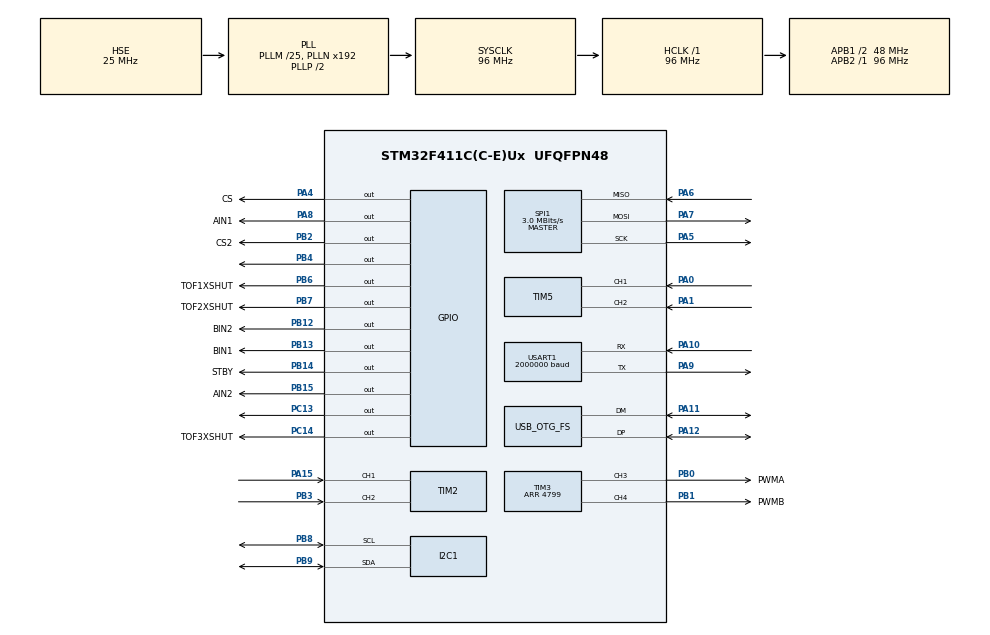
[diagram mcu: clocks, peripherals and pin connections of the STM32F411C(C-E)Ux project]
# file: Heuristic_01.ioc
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Dma.Request0=USART1_TX
Dma.Request1=USART1_RX
Dma.USART1_RX.1.Direction=DMA_PERIPH_TO_MEMORY
Dma.USART1_RX.1.FIFOMode=DMA_FIFOMODE_DISABLE
Dma.USART1_RX.1.Instance=DMA2_Stream2
Dma.USART1_RX.1.MemDataAlignment=DMA_MDATAALIGN_BYTE
Dma.USART1_RX.1.MemInc=DMA_MINC_ENABLE
Dma.USART1_RX.1.Mode=DMA_CIRCULAR
Dma.USART1_RX.1.PeriphDataAlignment=DMA_PDATAALIGN_BYTE
Dma.USART1_RX.1.PeriphInc=DMA_PINC_DISABLE
Dma.USART1_RX.1.Priority=DMA_PRIORITY_LOW
Dma.USART1_TX.0.Direction=DMA_MEMORY_TO_PERIPH
Dma.USART1_TX.0.FIFOMode=DMA_FIFOMODE_DISABLE
Dma.USART1_TX.0.Instance=DMA2_Stream7
Dma.USART1_TX.0.MemDataAlignment=DMA_MDATAALIGN_BYTE
Dma.USART1_TX.0.MemInc=DMA_MINC_ENABLE
Dma.USART1_TX.0.Mode=DMA_NORMAL
Dma.USART1_TX.0.PeriphDataAlignment=DMA_PDATAALIGN_BYTE
Dma.USART1_TX.0.PeriphInc=DMA_PINC_DISABLE
Dma.USART1_TX.0.Priority=DMA_PRIORITY_LOW
Mcu.Family=STM32F4
Mcu.Name=STM32F411C(C-E)Ux
Mcu.Package=UFQFPN48
NVIC.DMA2_Stream2_IRQn=true\:0\:0\:false\:false\:true\:false\:true\:true
NVIC.DMA2_Stream7_IRQn=true\:0\:0\:false\:false\:true\:false\:true\:true
NVIC.OTG_FS_IRQn=true\:0\:0\:false\:false\:true\:false\:true\:true
NVIC.PriorityGroup=NVIC_PRIORITYGROUP_4
NVIC.TIM4_IRQn=true\:15\:0\:false\:false\:true\:false\:true\:true
NVIC.TimeBase=TIM4_IRQn
NVIC.TimeBaseIP=TIM4
NVIC.USART1_IRQn=true\:0\:0\:false\:false\:true\:true\:true\:true
PA0-WKUP.Signal=S_TIM5_CH1
PA1.Signal=S_TIM5_CH2
PA10.Mode=Asynchronous
PA10.Signal=USART1_RX
PA11.Mode=Device_Only
PA11.Signal=USB_OTG_FS_DM
PA12.Mode=Device_Only
PA12.Signal=USB_OTG_FS_DP
PA15.Signal=S_TIM2_CH1_ETR
PA4.GPIO_Label=CS
PA4.Signal=GPIO_Output
PA5.Mode=Full_Duplex_Master
PA5.Signal=SPI1_SCK
PA6.Mode=Full_Duplex_Master
PA6.Signal=SPI1_MISO
PA7.Mode=Full_Duplex_Master
PA7.Signal=SPI1_MOSI
PA8.GPIO_Label=AIN1
PA8.Signal=GPIO_Output
PA9.Mode=Asynchronous
PA9.Signal=USART1_TX
PB0.GPIO_Label=PWMA
PB0.Signal=S_TIM3_CH3
PB1.GPIO_Label=PWMB
PB1.Signal=S_TIM3_CH4
PB12.GPIO_Label=BIN2
PB12.Signal=GPIO_Output
PB13.GPIO_Label=BIN1
PB13.Signal=GPIO_Output
PB14.GPIO_Label=STBY
PB14.Signal=GPIO_Output
PB15.GPIO_Label=AIN2
PB15.Signal=GPIO_Output
PB2.GPIO_Label=CS2
PB2.Signal=GPIO_Output
PB3.Signal=S_TIM2_CH2
PB4.Signal=GPIO_Output
PB6.GPIO_Label=TOF1XSHUT
PB6.Signal=GPIO_Output
PB7.GPIO_Label=TOF2XSHUT
PB7.Signal=GPIO_Output
PB8.Mode=I2C
PB8.Signal=I2C1_SCL
PB9.Mode=I2C
PB9.Signal=I2C1_SDA
PC13-ANTI_TAMP.Signal=GPIO_Output
PC14-OSC32_IN.GPIO_Label=TOF3XSHUT
PC14-OSC32_IN.Signal=GPIO_Output
PH0\ -\ OSC_IN.Mode=HSE-External-Oscillator
PH0\ -\ OSC_IN.Signal=RCC_OSC_IN
PH1\ -\ OSC_OUT.Mode=HSE-External-Oscillator
PH1\ -\ OSC_OUT.Signal=RCC_OSC_OUT
ProjectManager.HeapSize=0x200
ProjectManager.StackSize=0x400
ProjectManager.TargetToolchain=STM32CubeIDE
RCC.48MHZClocksFreq_Value=48000000
RCC.AHBFreq_Value=96000000
RCC.APB1CLKDivider=RCC_HCLK_DIV2
RCC.APB1Freq_Value=48000000
RCC.APB1TimFreq_Value=96000000
RCC.APB2Freq_Value=96000000
RCC.APB2TimFreq_Value=96000000
RCC.CortexFreq_Value=96000000
RCC.HCLKFreq_Value=96000000
RCC.HSE_VALUE=25000000
RCC.HSI_VALUE=16000000
RCC.LSE_VALUE=32768
RCC.PLLM=25
RCC.PLLSourceVirtual=RCC_PLLSOURCE_HSE
RCC.SYSCLKFreq_VALUE=96000000
RCC.SYSCLKSource=RCC_SYSCLKSOURCE_PLLCLK
RCC.VCOOutputFreq_Value=192000000
SH.S_TIM2_CH1_ETR.0=TIM2_CH1,Encoder_Interface
SH.S_TIM2_CH2.0=TIM2_CH2,Encoder_Interface
SH.S_TIM3_CH3.0=TIM3_CH3,PWM Generation3 CH3
SH.S_TIM3_CH4.0=TIM3_CH4,PWM Generation4 CH4
SH.S_TIM5_CH1.0=TIM5_CH1,Encoder_Interface
SH.S_TIM5_CH2.0=TIM5_CH2,Encoder_Interface
SPI1.BaudRatePrescaler=SPI_BAUDRATEPRESCALER_32
SPI1.CLKPhase=SPI_PHASE_2EDGE
SPI1.CLKPolarity=SPI_POLARITY_HIGH
SPI1.CalculateBaudRate=3.0 MBits/s
SPI1.Direction=SPI_DIRECTION_2LINES
SPI1.Mode=SPI_MODE_MASTER
SPI1.VirtualType=VM_MASTER
TIM2.EncoderMode=TIM_ENCODERMODE_TI12
TIM2.IC1Filter=6
TIM2.IC2Filter=6
TIM3.Channel-PWM\ Generation3\ CH3=TIM_CHANNEL_3
TIM3.Channel-PWM\ Generation4\ CH4=TIM_CHANNEL_4
TIM3.Period=4799
TIM5.EncoderMode=TIM_ENCODERMODE_TI12
TIM5.IC1Filter=6
USART1.BaudRate=2000000
USART1.VirtualMode=VM_ASYNC
USB_DEVICE.CLASS_NAME_FS=CDC
USB_DEVICE.VirtualMode=Cdc
USB_DEVICE.VirtualModeFS=Cdc_FS
USB_OTG_FS.VirtualMode=Device_Only
VP_SYS_VS_tim4.Mode=TIM4
VP_TIM3_VS_ClockSourceINT.Mode=Internal
VP_USB_DEVICE_VS_USB_DEVICE_CDC_FS.Mode=CDC_FS
board=custom

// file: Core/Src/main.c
/* USER CODE BEGIN Header */
/**
  ******************************************************************************
  * @file           : main.c
  * @brief          : Main program body
  ******************************************************************************
  * @attention
  *
  * Copyright (c) 2026 STMicroelectronics.
  * All rights reserved.
  *
  * This software is licensed under terms that can be found in the LICENSE file
  * in the root directory of this software component.
  * If no LICENSE file comes with this software, it is provided AS-IS.
  *
  ******************************************************************************
  */
/* USER CODE END Header */
#include "main.h"
#include "usb_device.h"

/* USER CODE BEGIN Includes */
#include "FreeRTOS.h"
#include "task.h"
#include "stdio.h"
#include "math.h"
#include "queue.h"
#include "limits.h"
#include "string.h"
#include "stdbool.h"
#include "MMC5983MA.h"
#include "ism330dhcx.h"
#include "custom_bus.h"
#include "semphr.h"
#include <VL53L0X.h>
#include "usbd_cdc_if.h"

/* USER CODE END Includes */

/* USER CODE BEGIN PTD */

#define VL53L0X_I2C_ADDR    (0x29 << 1) // 0x52 in 8-bit format

#define SENSOR_1_ADDR (0x30 << 1) // 0x60
#define SENSOR_2_ADDR (0x31 << 1) // 0x62
#define SENSOR_3_ADDR (0x32 << 1) // 0x64

/* Registers */
#define REG_I2C_SLAVE_ADDR      0x8A
#define REG_SYSRANGE_START      0x00
#define REG_RESULT_RANGE_RAW    0x14
#define VL53L0X_REG_RESULT_RANGE_STATUS 0x14

#define MAX_PWM     4799.0f
#define MIN_PWM     0.0f
#define BASE_SPEED  0.1f  // Default forward PWM speed (0 - 4799)

#define DEG_TO_RAD(deg) ((deg) * (M_PI / 180.0f))
#define CHASSIS_LENGTH 		  0.10f
#define WHEEL_RADIUS_M 		  (WHEEL_DIAMETER_M / 2)
#define WHEEL_DIAMETER_M      0.034f      // 34 mm wheel diameter
#define ENCODER_TICKS_PER_REV 750.0f // 410.f     // Ticks per wheel revolution
#define METERS_TO_TICKS(v_ms) \
    ((int16_t)(((v_ms) / (M_PI * WHEEL_DIAMETER_M)) * ENCODER_TICKS_PER_REV))

typedef void (*pFunction)(void);

typedef struct {
    float Kp;           // Proportional gain
    float Ki;           // Integral gain
    float Kd;           // Derivative gain

    float integral;     // Accumulated error
    float prev_error;   // Previous error for derivative
    float max_integral; // Anti-windup limit
    float max_output;   // Max steering adjustment limit
} PID_Controller_t;

static PID_Controller_t speed_pid_A = {
    .Kp = 3.5f,
    .Ki = 2.25f,
    .Kd = 0.01f,

    .integral = 0.0f,
    .prev_error = 0.0f,
    .max_integral = 1000.0f,
    .max_output = 4799.0f
};

static PID_Controller_t speed_pid_B = {
    .Kp = 3.5f,
    .Ki = 2.25f,
    .Kd = 0.01f,

    .integral = 0.0f,
    .prev_error = 0.0f,
    .max_integral = 1000.0f,
    .max_output = 4799.0f
};

// WALL FOLLOWING PID CONTROLLER
static PID_Controller_t wall_pid = {
    .Kp = 0.05f,    // Proportional: How aggressively to turn towards the center
    .Ki = 0.0001f,  // Integral: Closes steady-state gaps
    .Kd = 0.01f,    // Derivative: Dampens oscillations (acts like heading correction)

    .integral = 0.0f,
    .prev_error = 0.0f,
    .max_integral = 2.0f,
    .max_output = 2.0f // Max turn rate in rad/s
};

int m = 0; //Moto State
volatile bool motors_armed = true;

volatile int16_t latest_cntA = 0;
volatile int16_t latest_cntB = 0;

typedef struct {
    uint8_t addr;
    GPIO_TypeDef* xshut_port;
    uint16_t xshut_pin;
    uint16_t distance_mm;
} VL53L0X_Dev;

typedef struct {
	int x_front;
	int y_right;
	int y_left;
} tof_pack_t;

typedef struct {
	float acc[3];
	float gyro[3];
	float mag[3];
	float heading;
}imu_pack_t;

typedef struct {
    float x;
    float y;
    float theta;
    float v;
    float omega;
} robot_pose_t;

typedef struct {
    tof_pack_t tof;
    imu_pack_t imu;
    robot_pose_t pose;
    float y_err;
    float theta_err;
    float v_cmd;
    float omega_cmd;
    int16_t encA;
    int16_t encB;
} telemetry_pack_t;

typedef struct {
    int16_t deltaA;
    int16_t deltaB;
    int16_t current_cntA; // Add this
    int16_t current_cntB; // Add this
} EncoderDeltas_t;

VL53L0X_Dev_t sensor1 = { .addr = SENSOR_1_ADDR, .xshut_port = TOF1XSHUT_GPIO_Port, .xshut_pin = TOF1XSHUT_Pin, .stop_variable = 0,
	    .distance_mm = 0};
VL53L0X_Dev_t sensor2 = { .addr = SENSOR_2_ADDR, .xshut_port = TOF2XSHUT_GPIO_Port, .xshut_pin = TOF2XSHUT_Pin, .stop_variable = 0,
	    .distance_mm = 0};
VL53L0X_Dev_t sensor3 = { .addr = SENSOR_3_ADDR, .xshut_port = TOF3XSHUT_GPIO_Port, .xshut_pin = TOF3XSHUT_Pin, .stop_variable = 0,
	    .distance_mm = 0};
//Mag configs
MMC5983MA_t myMag;
ISM330DHCX_Object_t ism330dhcx_obj;

static robot_pose_t robot_pose = {0.0f, 0.0f, 0.0f, 0.0f, 0.0f};

const float offset_x = -10.1f;
const float offset_y = 21.00f - 5.50f;
const float offset_z = -3.50f ;

const float soft_iron[3][3] = {
{  1.003f,  0.001f, -0.017f },
{  0.001f,  1.002f,  0.005f },
{ -0.017f,  0.005f,  0.995f }
};

double initial_wrld_heading = -1000.0;
double relative_heading = 0.0;

QueueHandle_t xTofQueue;
QueueHandle_t xUartRxQueue;
QueueHandle_t xImuQueue;
QueueHandle_t xTelemetryQueue;
QueueHandle_t xJoystickQueue;

BaseType_t xStatus;

TaskHandle_t motor_task_handler;
TaskHandle_t local_navigation_task_handler;
TaskHandle_t orientation_task_handler;
TaskHandle_t telemetry_task_handler;
TaskHandle_t joystick_task_handler;
TaskHandle_t odometry_task_handler;

volatile bool joystick_mode = false;

/* GLOBAL STARTUP GATE FLAG */
volatile uint8_t reset_odom_flag = 0;
volatile uint8_t system_started = 0;
volatile bool is_robot_flipped = false;
volatile float user_target_speed_ms = 0.0f;

/* USER CODE END PTD */

I2C_HandleTypeDef hi2c1;

extern SPI_HandleTypeDef hspi1;

TIM_HandleTypeDef htim2;
TIM_HandleTypeDef htim3;
TIM_HandleTypeDef htim5;

UART_HandleTypeDef huart1;
DMA_HandleTypeDef hdma_usart1_tx;
DMA_HandleTypeDef hdma_usart1_rx;

/* USER CODE BEGIN PV */
#define CoreDebug_DEMCR (*(volatile uint32_t*) 0xE000EDFC)
#define DWT_CTRL        (*(volatile uint32_t*) 0xE0001000)
#define DWT_CYCCNT      (*(volatile uint32_t*) 0xE0001004)

uint16_t distance;
volatile bool use_usb_logging = false;
// UART RX Variables
uint8_t rx_data;
char rx_buffer[32];
uint8_t rx_index = 0;

/* ---- Nav state machine ------------------------------------------ */

typedef enum {
    NAV_FOLLOWING = 0,
    NAV_BLOCKED_TURNING
} nav_state_t;

/* ---- Persistent state (static so it survives across loop iters) - */

#define TARGET_WALL_DIST_MM        100.0f
#define TARGET_HEADING_RAD         0.0f

/* Wall presence threshold. Should be clearly larger than
 * TARGET_WALL_DIST_MM (100mm) so the robot recognizes a wall with
 * room to react smoothly, but not so large it reacts to walls across
 * open areas / junctions. Start around 1.5-2x target distance. */
#define WALL_THRESHOLD_MM          130.0f
#define WALL_HYSTERESIS_MM         20.0f   /* gap between enter/exit thresholds */

#define FRONT_OBSTACLE_THRESHOLD_MM 100.0f
#define FRONT_BLOCK_DEBOUNCE_COUNT  3      /* consecutive close reads before reacting */

#define Y_ERR_FILTER_ALPHA          0.4f   /* lower = smoother, more lag */

#define MAX_OMEGA                  1.0f    /* rad/s, absolute saturation */
#define MAX_OMEGA_STEP              0.1f   /* rad/s change allowed per 40ms tick */

#define TURN_OMEGA                  2.0f   /* rad/s used while resolving a front block */

/* USER CODE END PV */

void SystemClock_Config(void);
static void MX_GPIO_Init(void);
static void MX_DMA_Init(void);
static void MX_TIM2_Init(void);
static void MX_TIM3_Init(void);
static void MX_TIM5_Init(void);
static void MX_I2C1_Init(void);
static void MX_USART1_UART_Init(void);
static void MX_SPI1_Init(void);
/* USER CODE BEGIN PFP */

void VL53L0X_Init_All(void);

void Move_MotorA(int16_t magn);
void Move_MotorB(int16_t magn);
float Compute_PID(PID_Controller_t *pid, float error, float dt);
void UpdateOdometry(int16_t ticksA, int16_t ticksB, float dt);
void HAL_UART_RxCpltCallback(UART_HandleTypeDef *huart);
void CalcIK(float v, float ang_v, float *ang_R, float *ang_L);
static float normalize_angle(float angle);
uint32_t get_us(void);
void DWT_Init(void);

// FreeRTOS METHODS
static void tof_task(void *parameters);
static void main_task(void *parameters);
static void imu_task(void *parameters);
static void xOrientationCheckTask(void *parameters);
void vMotorController(void *parameters);
void vLocalNavigationTask(void *parameters);
void vTelemetryTask(void *parameters);
static void vJoystickTask(void *parameters);
void vOdometryTask(void *parameters);

void Reset_Odometry(void);

/* USER CODE END PFP */

/* USER CODE BEGIN 0 */

//int _write(int file, char *ptr, int len) {
//    // Use blocking UART transmission with a timeout (e.g., 10ms or HAL_MAX_DELAY)
//    HAL_UART_Transmit(&huart1, (uint8_t *)ptr, (uint16_t)len, 10);
//    return len;
//}
int _write(int file, char *ptr, int len) {
    // 1. Generate the timestamp header string
    char header[32];
    int h_len = snprintf(header, sizeof(header), "[%lu us] ", get_us());

    // 2. Combine header and message into a single buffer to prevent interleaving
    #define MAX_LOG_LEN 256
    char combined[MAX_LOG_LEN];

    // Truncate payload if it exceeds the local buffer size
    int payload_len = (len < (int)(MAX_LOG_LEN - h_len - 1)) ? len : (int)(MAX_LOG_LEN - h_len - 1);

    memcpy(combined, header, h_len);
    memcpy(combined + h_len, ptr, payload_len);
    int total_len = h_len + payload_len;

    if (use_usb_logging) {
        // --- USB CDC Logging ---
        uint8_t status = USBD_BUSY;
        uint8_t retries = 0;

        do {
            status = CDC_Transmit_FS((uint8_t *)combined, total_len);
            if (status == USBD_BUSY) {
                vTaskDelay(pdMS_TO_TICKS(1)); // Yield to other tasks
                retries++;
            }
        } while (status == USBD_BUSY && retries < 10); // 10ms timeout

    } else {
        // --- UART DMA Logging Fix ---
        // Forcefully clear a stuck busy state caused by an electrical glitch/timeout
        if (huart1.gState == HAL_UART_STATE_BUSY_TX) {
            huart1.gState = HAL_UART_STATE_READY;
            __HAL_UNLOCK(&huart1);
        }

        HAL_UART_Transmit(&huart1, (uint8_t *)combined, (uint16_t)total_len, 10);
    }
    return len; // Return original length so standard library tracking stays accurate
}

void DWT_Init(void) {
    // 1. Enable TRCENA (Trace Enable) in CoreDebug DEMCR register
    CoreDebug_DEMCR |= (1 << 24);

    // 2. Reset the cycle counter
    DWT_CYCCNT = 0;

    // 3. Enable the CYCCNT (Cycle Counter) bit in DWT Control register
    DWT_CTRL |= (1 << 0);
}

uint32_t get_us(void) {
    return (uint32_t)(DWT_CYCCNT / (SystemCoreClock / 1000000));
}

/* --------------------------------------------------------------------------
 * ISM330DHCX SPI bus wrappers (CS = PA4)
 * -------------------------------------------------------------------------- */
int32_t BSP_SPI1_WriteReg(uint16_t Addr, uint16_t Reg, uint8_t *pData, uint16_t Len) {
    HAL_GPIO_WritePin(GPIOA, GPIO_PIN_4, GPIO_PIN_RESET);
    BSP_SPI1_Send((uint8_t*)&Reg, 1);
    int32_t ret = BSP_SPI1_Send(pData, Len);
    HAL_GPIO_WritePin(GPIOA, GPIO_PIN_4, GPIO_PIN_SET);
    return ret;
}

int32_t BSP_SPI1_ReadReg(uint16_t Addr, uint16_t Reg, uint8_t *pData, uint16_t Len) {
    uint8_t reg_addr = (uint8_t)Reg | 0x80;
    HAL_GPIO_WritePin(GPIOA, GPIO_PIN_4, GPIO_PIN_RESET);
    BSP_SPI1_Send(&reg_addr, 1);
    int32_t ret = BSP_SPI1_Recv(pData, Len);
    HAL_GPIO_WritePin(GPIOA, GPIO_PIN_4, GPIO_PIN_SET);
    return ret;
}

/* USER CODE END 0 */

int main(void)
{

  /* USER CODE BEGIN 1 */
  TaskHandle_t tof_task_handler;
  TaskHandle_t main_task_handler;
  TaskHandle_t imu_task_handler;

//  TaskHandle_t vPID_task_handler;
  BaseType_t status;

  /* USER CODE END 1 */

  /* MCU Configuration--------------------------------------------------------*/

  /* Reset of all peripherals, Initializes the Flash interface and the Systick. */
  HAL_Init();

  /* USER CODE BEGIN Init */
  DWT_Init();
  /* USER CODE END Init */

  /* Configure the system clock */
  SystemClock_Config();

  /* Initialize all configured peripherals */
  MX_GPIO_Init();
  MX_DMA_Init();
  MX_TIM2_Init();
  MX_TIM3_Init();
  MX_TIM5_Init();
  MX_I2C1_Init();
  MX_USART1_UART_Init();
  MX_SPI1_Init();
  MX_USB_DEVICE_Init();
  /* USER CODE BEGIN 2 */

    // Enable CYCCNT counter
    DWT_CTRL |= (1 << 0);

    xTofQueue = xQueueCreate(1, sizeof(tof_pack_t));
    xImuQueue = xQueueCreate(1, sizeof(imu_pack_t));
    xTelemetryQueue = xQueueCreate(1, sizeof(telemetry_pack_t));
    xUartRxQueue = xQueueCreate(5, 32);
    xJoystickQueue = xQueueCreate(5, 32);

    status = xTaskCreate(tof_task, "TOFTask", 512, NULL, 2, &tof_task_handler);
    status = xTaskCreate(imu_task, "IMUTask", 512, NULL, 2, &imu_task_handler);
    status = xTaskCreate(main_task, "MainTask", 512, NULL, 2, &main_task_handler);
    status = xTaskCreate(xOrientationCheckTask, "orientationtask", 256, NULL, 1, &orientation_task_handler);
    status = xTaskCreate(vLocalNavigationTask, "MainTask", 128, NULL, 2, &local_navigation_task_handler);
    status = xTaskCreate(vMotorController, "motorCtrl", 512, NULL, 2, &motor_task_handler);
    status = xTaskCreate(vTelemetryTask, "Telemetry", 512, NULL, 1, &telemetry_task_handler);

    printf("Initialised TASKS \r\n");

    HAL_NVIC_SetPriority(USART1_IRQn, 5, 0);
    HAL_NVIC_EnableIRQ(USART1_IRQn);
    HAL_UART_Receive_IT(&huart1, &rx_data, 1);

    configASSERT(status == pdPASS);
    HAL_TIM_Encoder_Start(&htim5, TIM_CHANNEL_ALL);
    HAL_TIM_Encoder_Start(&htim2, TIM_CHANNEL_ALL);
    vTaskStartScheduler();

  /* USER CODE END 2 */

  /* Infinite loop */
  while (1)
  {

  }
}

void SystemClock_Config(void)
{
  RCC_OscInitTypeDef RCC_OscInitStruct = {0};
  RCC_ClkInitTypeDef RCC_ClkInitStruct = {0};

  /** Configure the main internal regulator output voltage
  */
  __HAL_RCC_PWR_CLK_ENABLE();
  __HAL_PWR_VOLTAGESCALING_CONFIG(PWR_REGULATOR_VOLTAGE_SCALE1);

  /** Initializes the RCC Oscillators according to the specified parameters
  * in the RCC_OscInitTypeDef structure.
  */
  RCC_OscInitStruct.OscillatorType = RCC_OSCILLATORTYPE_HSE;
  RCC_OscInitStruct.HSEState = RCC_HSE_ON;
  RCC_OscInitStruct.PLL.PLLState = RCC_PLL_ON;
  RCC_OscInitStruct.PLL.PLLSource = RCC_PLLSOURCE_HSE;
  RCC_OscInitStruct.PLL.PLLM = 25;
  RCC_OscInitStruct.PLL.PLLN = 192;
  RCC_OscInitStruct.PLL.PLLP = RCC_PLLP_DIV2;
  RCC_OscInitStruct.PLL.PLLQ = 4;
  if (HAL_RCC_OscConfig(&RCC_OscInitStruct) != HAL_OK)
  {
    Error_Handler();
  }

  /** Initializes the CPU, AHB and APB buses clocks
  */
  RCC_ClkInitStruct.ClockType = RCC_CLOCKTYPE_HCLK|RCC_CLOCKTYPE_SYSCLK
                              |RCC_CLOCKTYPE_PCLK1|RCC_CLOCKTYPE_PCLK2;
  RCC_ClkInitStruct.SYSCLKSource = RCC_SYSCLKSOURCE_PLLCLK;
  RCC_ClkInitStruct.AHBCLKDivider = RCC_SYSCLK_DIV1;
  RCC_ClkInitStruct.APB1CLKDivider = RCC_HCLK_DIV2;
  RCC_ClkInitStruct.APB2CLKDivider = RCC_HCLK_DIV1;

  if (HAL_RCC_ClockConfig(&RCC_ClkInitStruct, FLASH_LATENCY_3) != HAL_OK)
  {
    Error_Handler();
  }
}

static void MX_I2C1_Init(void)
{

  hi2c1.Instance = I2C1;
  hi2c1.Init.ClockSpeed = 100000;
  hi2c1.Init.DutyCycle = I2C_DUTYCYCLE_2;
  hi2c1.Init.OwnAddress1 = 0;
  hi2c1.Init.AddressingMode = I2C_ADDRESSINGMODE_7BIT;
  hi2c1.Init.DualAddressMode = I2C_DUALADDRESS_DISABLE;
  hi2c1.Init.OwnAddress2 = 0;
  hi2c1.Init.GeneralCallMode = I2C_GENERALCALL_DISABLE;
  hi2c1.Init.NoStretchMode = I2C_NOSTRETCH_DISABLE;
  if (HAL_I2C_Init(&hi2c1) != HAL_OK)
  {
    Error_Handler();
  }

}

static void MX_SPI1_Init(void)
{

  /* SPI1 parameter configuration*/
  hspi1.Instance = SPI1;
  hspi1.Init.Mode = SPI_MODE_MASTER;
  hspi1.Init.Direction = SPI_DIRECTION_2LINES;
  hspi1.Init.DataSize = SPI_DATASIZE_8BIT;
  hspi1.Init.CLKPolarity = SPI_POLARITY_HIGH;
  hspi1.Init.CLKPhase = SPI_PHASE_2EDGE;
  hspi1.Init.NSS = SPI_NSS_SOFT;
  hspi1.Init.BaudRatePrescaler = SPI_BAUDRATEPRESCALER_32;
  hspi1.Init.FirstBit = SPI_FIRSTBIT_MSB;
  hspi1.Init.TIMode = SPI_TIMODE_DISABLE;
  hspi1.Init.CRCCalculation = SPI_CRCCALCULATION_DISABLE;
  hspi1.Init.CRCPolynomial = 10;
  if (HAL_SPI_Init(&hspi1) != HAL_OK)
  {
    Error_Handler();
  }

}

static void MX_TIM2_Init(void)
{

  TIM_Encoder_InitTypeDef sConfig = {0};
  TIM_MasterConfigTypeDef sMasterConfig = {0};

  htim2.Instance = TIM2;
  htim2.Init.Prescaler = 0;
  htim2.Init.CounterMode = TIM_COUNTERMODE_UP;
  htim2.Init.Period = 4294967295;
  htim2.Init.ClockDivision = TIM_CLOCKDIVISION_DIV1;
  htim2.Init.AutoReloadPreload = TIM_AUTORELOAD_PRELOAD_DISABLE;
  sConfig.EncoderMode = TIM_ENCODERMODE_TI12;
  sConfig.IC1Polarity = TIM_ICPOLARITY_RISING;
  sConfig.IC1Selection = TIM_ICSELECTION_DIRECTTI;
  sConfig.IC1Prescaler = TIM_ICPSC_DIV1;
  sConfig.IC1Filter = 6;
  sConfig.IC2Polarity = TIM_ICPOLARITY_RISING;
  sConfig.IC2Selection = TIM_ICSELECTION_DIRECTTI;
  sConfig.IC2Prescaler = TIM_ICPSC_DIV1;
  sConfig.IC2Filter = 6;
  if (HAL_TIM_Encoder_Init(&htim2, &sConfig) != HAL_OK)
  {
    Error_Handler();
  }
  sMasterConfig.MasterOutputTrigger = TIM_TRGO_RESET;
  sMasterConfig.MasterSlaveMode = TIM_MASTERSLAVEMODE_DISABLE;
  if (HAL_TIMEx_MasterConfigSynchronization(&htim2, &sMasterConfig) != HAL_OK)
  {
    Error_Handler();
  }

}

static void MX_TIM3_Init(void)
{

  TIM_ClockConfigTypeDef sClockSourceConfig = {0};
  TIM_MasterConfigTypeDef sMasterConfig = {0};
  TIM_OC_InitTypeDef sConfigOC = {0};

  htim3.Instance = TIM3;
  htim3.Init.Prescaler = 0;
  htim3.Init.CounterMode = TIM_COUNTERMODE_UP;
  htim3.Init.Period = 4799;
  htim3.Init.ClockDivision = TIM_CLOCKDIVISION_DIV1;
  htim3.Init.AutoReloadPreload = TIM_AUTORELOAD_PRELOAD_DISABLE;
  if (HAL_TIM_Base_Init(&htim3) != HAL_OK)
  {
    Error_Handler();
  }
  sClockSourceConfig.ClockSource = TIM_CLOCKSOURCE_INTERNAL;
  if (HAL_TIM_ConfigClockSource(&htim3, &sClockSourceConfig) != HAL_OK)
  {
    Error_Handler();
  }
  if (HAL_TIM_PWM_Init(&htim3) != HAL_OK)
  {
    Error_Handler();
  }
  sMasterConfig.MasterOutputTrigger = TIM_TRGO_RESET;
  sMasterConfig.MasterSlaveMode = TIM_MASTERSLAVEMODE_DISABLE;
  if (HAL_TIMEx_MasterConfigSynchronization(&htim3, &sMasterConfig) != HAL_OK)
  {
    Error_Handler();
  }
  sConfigOC.OCMode = TIM_OCMODE_PWM1;
  sConfigOC.Pulse = 0;
  sConfigOC.OCPolarity = TIM_OCPOLARITY_HIGH;
  sConfigOC.OCFastMode = TIM_OCFAST_DISABLE;
  if (HAL_TIM_PWM_ConfigChannel(&htim3, &sConfigOC, TIM_CHANNEL_3) != HAL_OK)
  {
    Error_Handler();
  }
  if (HAL_TIM_PWM_ConfigChannel(&htim3, &sConfigOC, TIM_CHANNEL_4) != HAL_OK)
  {
    Error_Handler();
  }
  HAL_TIM_MspPostInit(&htim3);

}

static void MX_TIM5_Init(void)
{

  TIM_Encoder_InitTypeDef sConfig = {0};
  TIM_MasterConfigTypeDef sMasterConfig = {0};

  htim5.Instance = TIM5;
  htim5.Init.Prescaler = 0;
  htim5.Init.CounterMode = TIM_COUNTERMODE_UP;
  htim5.Init.Period = 4294967295;
  htim5.Init.ClockDivision = TIM_CLOCKDIVISION_DIV1;
  htim5.Init.AutoReloadPreload = TIM_AUTORELOAD_PRELOAD_DISABLE;
  sConfig.EncoderMode = TIM_ENCODERMODE_TI12;
  sConfig.IC1Polarity = TIM_ICPOLARITY_RISING;
  sConfig.IC1Selection = TIM_ICSELECTION_DIRECTTI;
  sConfig.IC1Prescaler = TIM_ICPSC_DIV1;
  sConfig.IC1Filter = 6;
  sConfig.IC2Polarity = TIM_ICPOLARITY_RISING;
  sConfig.IC2Selection = TIM_ICSELECTION_DIRECTTI;
  sConfig.IC2Prescaler = TIM_ICPSC_DIV1;
  sConfig.IC2Filter = 0;
  if (HAL_TIM_Encoder_Init(&htim5, &sConfig) != HAL_OK)
  {
    Error_Handler();
  }
  sMasterConfig.MasterOutputTrigger = TIM_TRGO_RESET;
  sMasterConfig.MasterSlaveMode = TIM_MASTERSLAVEMODE_DISABLE;
  if (HAL_TIMEx_MasterConfigSynchronization(&htim5, &sMasterConfig) != HAL_OK)
  {
    Error_Handler();
  }

}

static void MX_USART1_UART_Init(void)
{

  huart1.Instance = USART1;
  huart1.Init.BaudRate = 460800;
  huart1.Init.WordLength = UART_WORDLENGTH_8B;
  huart1.Init.StopBits = UART_STOPBITS_1;
  huart1.Init.Parity = UART_PARITY_NONE;
  huart1.Init.Mode = UART_MODE_TX_RX;
  huart1.Init.HwFlowCtl = UART_HWCONTROL_NONE;
  huart1.Init.OverSampling = UART_OVERSAMPLING_16;
  if (HAL_UART_Init(&huart1) != HAL_OK)
  {
    Error_Handler();
  }

}

static void MX_DMA_Init(void)
{

  /* DMA controller clock enable */
  __HAL_RCC_DMA2_CLK_ENABLE();

  /* DMA interrupt init */
  /* DMA2_Stream2_IRQn interrupt configuration */
  HAL_NVIC_SetPriority(DMA2_Stream2_IRQn, 0, 0);
  HAL_NVIC_EnableIRQ(DMA2_Stream2_IRQn);
  /* DMA2_Stream7_IRQn interrupt configuration */
  HAL_NVIC_SetPriority(DMA2_Stream7_IRQn, 0, 0);
  HAL_NVIC_EnableIRQ(DMA2_Stream7_IRQn);

}

static void MX_GPIO_Init(void)
{
  GPIO_InitTypeDef GPIO_InitStruct = {0};

  /* GPIO Ports Clock Enable */
  __HAL_RCC_GPIOC_CLK_ENABLE();
  __HAL_RCC_GPIOH_CLK_ENABLE();
  __HAL_RCC_GPIOA_CLK_ENABLE();
  __HAL_RCC_GPIOB_CLK_ENABLE();

  /*Configure GPIO pin Output Level */
  HAL_GPIO_WritePin(GPIOC, GPIO_PIN_13|TOF3XSHUT_Pin, GPIO_PIN_RESET);

  /*Configure GPIO pin Output Level */
  HAL_GPIO_WritePin(GPIOA, CS_Pin|AIN1_Pin, GPIO_PIN_RESET);

  /*Configure GPIO pin Output Level */
  HAL_GPIO_WritePin(GPIOB, CS2_Pin|BIN2_Pin|BIN1_Pin|STBY_Pin
                          |AIN2_Pin|GPIO_PIN_4|TOF1XSHUT_Pin|TOF2XSHUT_Pin, GPIO_PIN_RESET);

  /*Configure GPIO pins : PC13 TOF3XSHUT_Pin */
  GPIO_InitStruct.Pin = GPIO_PIN_13|TOF3XSHUT_Pin;
  GPIO_InitStruct.Mode = GPIO_MODE_OUTPUT_PP;
  GPIO_InitStruct.Pull = GPIO_NOPULL;
  GPIO_InitStruct.Speed = GPIO_SPEED_FREQ_LOW;
  HAL_GPIO_Init(GPIOC, &GPIO_InitStruct);

  /*Configure GPIO pins : CS_Pin AIN1_Pin */
  GPIO_InitStruct.Pin = CS_Pin|AIN1_Pin;
  GPIO_InitStruct.Mode = GPIO_MODE_OUTPUT_PP;
  GPIO_InitStruct.Pull = GPIO_NOPULL;
  GPIO_InitStruct.Speed = GPIO_SPEED_FREQ_LOW;
  HAL_GPIO_Init(GPIOA, &GPIO_InitStruct);

  /*Configure GPIO pins : CS2_Pin BIN2_Pin BIN1_Pin STBY_Pin
                           AIN2_Pin PB4 TOF1XSHUT_Pin TOF2XSHUT_Pin */
  GPIO_InitStruct.Pin = CS2_Pin|BIN2_Pin|BIN1_Pin|STBY_Pin
                          |AIN2_Pin|GPIO_PIN_4|TOF1XSHUT_Pin|TOF2XSHUT_Pin;
  GPIO_InitStruct.Mode = GPIO_MODE_OUTPUT_PP;
  GPIO_InitStruct.Pull = GPIO_NOPULL;
  GPIO_InitStruct.Speed = GPIO_SPEED_FREQ_LOW;
  HAL_GPIO_Init(GPIOB, &GPIO_InitStruct);

}

/* USER CODE BEGIN 4 */

void VL53L0X_Init_All(void) {
    // 1. Force all into shutdown
    HAL_GPIO_WritePin(sensor1.xshut_port, sensor1.xshut_pin, GPIO_PIN_RESET);
    HAL_GPIO_WritePin(sensor2.xshut_port, sensor2.xshut_pin, GPIO_PIN_RESET);
    HAL_GPIO_WritePin(sensor3.xshut_port, sensor3.xshut_pin, GPIO_PIN_RESET);
    HAL_Delay(30);

    // --- Sensor 1 (Right) ---
    HAL_GPIO_WritePin(sensor1.xshut_port, sensor1.xshut_pin, GPIO_PIN_SET);
    HAL_Delay(10);
    VL53L0X_WrByte(VL53L0X_I2C_ADDR, REG_I2C_SLAVE_ADDR, sensor1.addr >> 1); // Remap address
    VL53L0X_SetBareMetalTimingBudget(sensor1.addr, 20000);// Initialize its object parameters
    VL53L0X_Begin(&sensor1);

    // --- Sensor 2 (Front) ---
    HAL_GPIO_WritePin(sensor2.xshut_port, sensor2.xshut_pin, GPIO_PIN_SET);
    HAL_Delay(10);
    VL53L0X_WrByte(VL53L0X_I2C_ADDR, REG_I2C_SLAVE_ADDR, sensor2.addr >> 1);
    VL53L0X_SetBareMetalTimingBudget(sensor2.addr, 20000);
    VL53L0X_Begin(&sensor2);

    // --- Sensor 3 (Left) ---
    HAL_GPIO_WritePin(sensor3.xshut_port, sensor3.xshut_pin, GPIO_PIN_SET);
    HAL_Delay(10);
    VL53L0X_WrByte(VL53L0X_I2C_ADDR, REG_I2C_SLAVE_ADDR, sensor3.addr >> 1);
    VL53L0X_SetBareMetalTimingBudget(sensor3.addr, 20000);
    VL53L0X_Begin(&sensor3);

    printf("All sensors initialized via object structs!\r\n");
}

// Helper function to auto-recover a locked VL53L0X sensor on the fly via XSHUT
void Reset_Locked_Sensor(VL53L0X_Dev_t *dev) {

//	printf("Resetting sens %d\n\r", dev->addr);
    // 1. Force hardware shutdown using the struct's port and pin
    HAL_GPIO_WritePin(dev->xshut_port, dev->xshut_pin, GPIO_PIN_RESET);
    vTaskDelay(pdMS_TO_TICKS(10));

    // 2. Bring sensor back up
    HAL_GPIO_WritePin(dev->xshut_port, dev->xshut_pin, GPIO_PIN_SET);
    vTaskDelay(pdMS_TO_TICKS(10));

    // 3. Reassign its I2C slave address
    VL53L0X_WrByte(VL53L0X_I2C_ADDR, REG_I2C_SLAVE_ADDR, dev->addr >> 1);

    // 4. Re-initialize using the proper pointer struct expected by VL53L0X_Begin

    VL53L0X_SetBareMetalTimingBudget(dev->addr, 20000);
    VL53L0X_Begin(dev);
}

EncoderDeltas_t Read_Encoder_Deltas(void) {
    static uint16_t prev_cntA = 0;
    static uint16_t prev_cntB = 0;

    // Read counter as uint16_t matching timer register
    uint16_t current_cntA = (uint16_t)__HAL_TIM_GET_COUNTER(&htim5);
    uint16_t current_cntB = (uint16_t)__HAL_TIM_GET_COUNTER(&htim2);

    EncoderDeltas_t deltas;
    // Unsigned subtraction correctly handles overflow across 0/65535 bounds
    deltas.deltaA = (int16_t)(prev_cntA - current_cntA);
    deltas.deltaB = (int16_t)(prev_cntB - current_cntB);
    deltas.current_cntA = current_cntA;
    deltas.current_cntB = current_cntB;

    prev_cntA = current_cntA;
    prev_cntB = current_cntB;

    return deltas;
}

static void tof_task(void *parameters) {
    tof_pack_t tof_processed;
    vTaskDelay(pdMS_TO_TICKS(3000));
    VL53L0X_Init_All();

    // Initialize variables as integers
    int filt_left = 100;
    int filt_front = 200;
    int filt_right = 100;

    // Error tracking counters to trigger recovery only if it stays locked/corrupted
    uint8_t err_count_R = 0, err_count_F = 0, err_count_L = 0;

    // Per-sensor read timeout: keep well under the ~60ms task period since
    // all 3 sensors are polled sequentially within one loop iteration.
    const uint32_t READ_TIMEOUT_MS = 15;

    while (1) {
        uint16_t raw_s1 = 0, raw_s2 = 0, raw_s3 = 0;
        HAL_StatusTypeDef st1, st2, st3;

        // --- Read Right Sensor ---
        st1 = VL53L0X_ReadRangePolled(sensor1.addr, &raw_s1, READ_TIMEOUT_MS);
        if (st1 == HAL_OK && raw_s1 <= 500 && raw_s1 != 0) {
            err_count_R = 0;
            filt_right = (int)raw_s1;
        } else {
            filt_right = 20;
            err_count_R++;
            if (st1 == HAL_TIMEOUT) {
                printf("Sen1 timeout (stuck?)\r\n");
            }
        }
        if (err_count_R > 3) {
            printf("Reset Trig sen1\r\n");
            Reset_Locked_Sensor(&sensor1);
            err_count_R = 0;
        }
        vTaskDelay(pdMS_TO_TICKS(5));

        // --- Read Front Sensor ---
        st2 = VL53L0X_ReadRangePolled(sensor2.addr, &raw_s2, READ_TIMEOUT_MS);
        if (st2 == HAL_OK && raw_s2 <= 500 && raw_s2 != 0) {
            err_count_F = 0;
            filt_front = (int)raw_s2;
        } else {
            filt_front = 20;
            err_count_F++;
            if (st2 == HAL_TIMEOUT) {
                printf("Sen2 timeout (stuck?)\r\n");
            }
        }
        if (err_count_F > 3) {
            printf("Reset Trig sen2\r\n");
            Reset_Locked_Sensor(&sensor2);
            err_count_F = 0;
        }
        vTaskDelay(pdMS_TO_TICKS(5));

        // --- Read Left Sensor ---
        st3 = VL53L0X_ReadRangePolled(sensor3.addr, &raw_s3, READ_TIMEOUT_MS);
        if (st3 == HAL_OK && raw_s3 <= 500 && raw_s3 != 0) {
            err_count_L = 0;
            filt_left = (int)raw_s3;
        } else {
            filt_left = 20;
            err_count_L++;
            if (st3 == HAL_TIMEOUT) {
                printf("Sen3 timeout (stuck?)\r\n");
            }
        }
        if (err_count_L > 3) {
            printf("Reset Trig sen3\r\n");
            Reset_Locked_Sensor(&sensor3);
            err_count_L = 0;
        }
        vTaskDelay(pdMS_TO_TICKS(5));

        // Pack values directly into integers (cos(34deg) ≈ 0.829, so we scale it or cast the result to int)
        tof_processed.x_front = filt_front;
        tof_processed.y_right = (int)((float)filt_right * 0.829f); // 0.829 is cos(34°)
        tof_processed.y_left  = (int)((float)filt_left  * 0.829f);

        // Print directly using integers
//        printf("tof_l: %d | tof_f: %d | tof_r: %d\r\n",
//               tof_processed.y_left, tof_processed.x_front, tof_processed.y_right);

        xQueueOverwrite(xTofQueue, &tof_processed);
        vTaskDelay(pdMS_TO_TICKS(40));
    }
}

static void imu_task(void *parameters){

    imu_pack_t imu_data;
    ISM330DHCX_Axes_t gyro_data;
    ISM330DHCX_Axes_t acc_data;

    HAL_GPIO_WritePin(GPIOA, GPIO_PIN_4, GPIO_PIN_SET);  // ISM CS
    HAL_GPIO_WritePin(GPIOB, GPIO_PIN_2, GPIO_PIN_SET);  // Mag CS

    ISM330DHCX_IO_t io_ctx;
    io_ctx.BusType  = ISM330DHCX_SPI_4_WIRE;
    io_ctx.Address  = 0;
    io_ctx.Init     = BSP_SPI1_Init;
    io_ctx.DeInit   = BSP_SPI1_DeInit;
    io_ctx.WriteReg = BSP_SPI1_WriteReg;
    io_ctx.ReadReg  = BSP_SPI1_ReadReg;
    io_ctx.GetTick  = BSP_GetTick;

    ISM330DHCX_RegisterBusIO(&ism330dhcx_obj, &io_ctx);

    if (ISM330DHCX_Init(&ism330dhcx_obj) != ISM330DHCX_OK) {
        printf("ISM330DHCX Init Failed!\r\n");
    }

    // Disable I2C on ISM to avoid bus conflicts
    uint8_t ctrl4_val = 0x04;
    BSP_SPI1_WriteReg(0, 0x13, &ctrl4_val, 1);

    ISM330DHCX_ACC_Enable(&ism330dhcx_obj);
    ISM330DHCX_GYRO_Enable(&ism330dhcx_obj);

    printf("Mag Init Started \r\n");
    if (MMC5983_Init(&myMag, &hspi1, CS2_GPIO_Port, CS2_Pin) != MMC5983MA_OK) {
        printf("Magnetometer Init Failed!\r\n");
    }
    MMC5983_SetFilterBandwidth(&myMag, 800);
    MMC5983_PerformResetOperation(&myMag);
    printf("Mag init successful \r\n");

    uint32_t rawX = 0, rawY = 0, rawZ = 0;
    double wrld_heading = 0.0, deviation = 0.0;

    // FreeRTOS pacing variables for 100 Hz (10ms)
    TickType_t xLastWakeTime = xTaskGetTickCount();
    const TickType_t xFrequency = pdMS_TO_TICKS(40);

    while(1){
        // Enforce exact 100Hz execution rate
        vTaskDelayUntil(&xLastWakeTime, xFrequency);
        // 1. Read IMU (Accel & Gyro)
        if (ISM330DHCX_GYRO_GetAxes(&ism330dhcx_obj, &gyro_data) == ISM330DHCX_OK &&
            ISM330DHCX_ACC_GetAxes(&ism330dhcx_obj, &acc_data) == ISM330DHCX_OK)
        {
            // GYRO (Convert mdps to dps or rad/s if needed)
            imu_data.gyro[0] = gyro_data.x / 1000.0f;
            imu_data.gyro[1] = gyro_data.y / 1000.0f;
            imu_data.gyro[2] = gyro_data.z / 1000.0f;

            // ACCEL (Convert mg to m/s^2)
            imu_data.acc[0] = (acc_data.x / 1000.0f) * 9.80665f;
            imu_data.acc[1] = (acc_data.y / 1000.0f) * 9.80665f;
            imu_data.acc[2] = (acc_data.z / 1000.0f) * 9.80665f;
        }

        // 2. Read Magnetometer
        if (MMC5983_GetMeasurementXYZ(&myMag, &rawX, &rawY, &rawZ) == MMC5983MA_OK)
        {
            // Raw to MicroTesla Conversion - 18bit sensor
            float uT_x = ((float)rawX - 131072.0f) / 131072.0f * 800.0f;
            float uT_y = ((float)rawY - 131072.0f) / 131072.0f * 800.0f;
            float uT_z = ((float)rawZ - 131072.0f) / 131072.0f * 800.0f;

            // Hard Iron Calibration
            float hi_x = uT_x - offset_x;
            float hi_y = uT_y - offset_y;
            float hi_z = uT_z - offset_z;

            // Soft Iron Calibration
            float cal_x = (hi_x * soft_iron[0][0]) + (hi_y * soft_iron[0][1]) + (hi_z * soft_iron[0][2]);
            float cal_y = (hi_x * soft_iron[1][0]) + (hi_y * soft_iron[1][1]) + (hi_z * soft_iron[1][2]);
            float cal_z = (hi_x * soft_iron[2][0]) + (hi_y * soft_iron[2][1]) + (hi_z * soft_iron[2][2]);

            imu_data.mag[0] = cal_x;
            imu_data.mag[1] = cal_y;
            imu_data.mag[2] = cal_z;

            wrld_heading = atan2(cal_y, cal_x);
            wrld_heading = (wrld_heading / M_PI) * 180.0;
            wrld_heading += 180.0;

            if (initial_wrld_heading < -999.0) {
                initial_wrld_heading = wrld_heading;
                printf(">>> Starting Orientation Set: %.1f <<<\r\n", initial_wrld_heading);
            }

            relative_heading = wrld_heading - initial_wrld_heading;
            if (relative_heading < 0.0)     relative_heading += 360.0;
            if (relative_heading >= 360.0)  relative_heading -= 360.0;

            imu_data.heading = (float)relative_heading;

            deviation = relative_heading;
            if (deviation > 180.0) deviation -= 360.0;

//             printf("rawREL: %.1f | DEV: %.1f \r\n", relative_heading, deviation);

        }

        // 3. Broadcast the completed snapshot to the navigation task
        if (xImuQueue != NULL) {
            xQueueOverwrite(xImuQueue, &imu_data);
        }
    }
}

static void vJoystickTask(void *parameters) {
    char buffer[32];
    float speed = 0.0f;
    float turn = 0.0f;

    // Adjustable multiplier to boost turning responsiveness
    float angular_gain = 8.0f;

    while (1) {
        if (xQueueReceive(xJoystickQueue, buffer, portMAX_DELAY) == pdPASS) {
            if (sscanf(buffer, "S:%f,T:%f", &speed, &turn) == 2) {

                // Amplify turn command
                float boosted_turn = turn * angular_gain;

                // Apply Inverse Kinematics for differential drive
                float ang_R, ang_L;
                CalcIK(speed, boosted_turn, &ang_R, &ang_L);

                int16_t target_ticks_A = METERS_TO_TICKS(ang_R);
                int16_t target_ticks_B = METERS_TO_TICKS(ang_L);

                uint32_t packed_value = ((uint32_t)(uint16_t)target_ticks_A << 16) | (uint16_t)target_ticks_B;
                xTaskNotify(motor_task_handler, packed_value, eSetValueWithOverwrite);
//                printf("speed: %f | turn: %f | w1: %f| w2: %f \n\r",speed,boosted_turn,ang_L,ang_R);
            }
        }
    }
}

float Compute_PID(PID_Controller_t *pid, float error, float dt)
{
    float p_term = pid->Kp * error;

    pid->integral += error * dt;
    if (pid->integral > pid->max_integral)  pid->integral = pid->max_integral;
    if (pid->integral < -pid->max_integral) pid->integral = -pid->max_integral;
    float i_term = pid->Ki * pid->integral;

    float derivative = (error - pid->prev_error) / dt;
    float d_term = pid->Kd * derivative;

    pid->prev_error = error;

    float output = p_term + i_term + d_term;

    if (output > pid->max_output)  output = pid->max_output;
    if (output < -pid->max_output) output = -pid->max_output;

    return output;
}

static float normalize_angle(float angle) {
    while (angle > M_PI)  angle -= 2.0f * M_PI;
    while (angle < -M_PI) angle += 2.0f * M_PI;
    return angle;
}

void UpdateOdometry(int16_t ticksA, int16_t ticksB, float dt) {
    if (dt <= 0.0f) return;

    // Convert wheel tick deltas into linear distance traveled (meters)
    float ds_R = ((float)ticksA / ENCODER_TICKS_PER_REV) * (M_PI * WHEEL_DIAMETER_M);
    float ds_L = ((float)ticksB / ENCODER_TICKS_PER_REV) * (M_PI * WHEEL_DIAMETER_M);

    // Linear translation (ds) and angular rotation (dtheta) deltas
    float ds = (ds_R + ds_L) / 2.0f;
    float dtheta = (ds_R - ds_L) / CHASSIS_LENGTH; // Fixed parenthesis grouping

    // Mid-step orientation for arc-integration
    float mid_theta = robot_pose.theta + (dtheta / 2.0f);

    // Integrate position across global frame
    robot_pose.x += ds * cosf(mid_theta); // Fixed: accumulate with +=
    robot_pose.y += ds * sinf(mid_theta); // Fixed: accumulate with +=
    robot_pose.theta = normalize_angle(robot_pose.theta + dtheta);

    // Instantaneous body velocities
    robot_pose.v = ds / dt;
    robot_pose.omega = dtheta / dt;
}

void compute_wall_pid_velocity(float y_err, float dt, float *v_cmd, float *ang_cmd) {
    // 1. SET BASE VELOCITY
    float v_max = 0.5f;

    // 2. APPLY PID CONTROL LAW
    // Calculate steering correction using the PID controller on the lateral error
    float steering_correction = Compute_PID(&wall_pid, y_err, dt);

    // 3. OUTPUT COMMANDS
    // Slow down the forward velocity when the robot needs to make a sharp turn
    float speed_scaling = 1.0f / (1.0f + 2.0f * fabsf(steering_correction));
    float v_ref = v_max * speed_scaling;

    // Set a minimum floor speed so it doesn't crawl to a complete stop during corrections
    if (v_ref < 0.3f) {
        v_ref = 0.3f;
    }

    *v_cmd = v_ref;
    *ang_cmd = steering_correction;
}

//void vOdometryTask(void *parameters) {
//    TickType_t xLastWakeTime = xTaskGetTickCount();
//    const TickType_t xFrequency = pdMS_TO_TICKS(10); // 100 Hz
//
//    // Initialize previous counter state
//    Read_Encoder_Deltas();
//
//    while (1) {
//        vTaskDelayUntil(&xLastWakeTime, xFrequency);
//
//        // Read deltas once per control loop
//        EncoderDeltas_t deltas = Read_Encoder_Deltas();
//
//        // Update global pose integration
//        UpdateOdometry(deltas.deltaA, deltas.deltaB, 0.010f);
//    }
//}
void vMotorController(void *parameters) {
    uint32_t packed_value = 0;
    int16_t target_ticks_A = 0;
    int16_t target_ticks_B = 0;

    HAL_GPIO_WritePin(STBY_GPIO_Port, STBY_Pin, GPIO_PIN_RESET);
    HAL_TIM_PWM_Start(&htim3, TIM_CHANNEL_3);
    HAL_TIM_PWM_Start(&htim3, TIM_CHANNEL_4);

    // Initialize previous counter references before loop starts
    Read_Encoder_Deltas();

    const float dt = 0.010f;
    TickType_t xLastWakeTime = xTaskGetTickCount();
    const TickType_t xFrequency = pdMS_TO_TICKS(10);

    while (1) {
        vTaskDelayUntil(&xLastWakeTime, xFrequency);

        // Read hardware deltas ONCE per 10ms tick
        EncoderDeltas_t deltas = Read_Encoder_Deltas();

        // Pass the identical deltas to the Odometry integrator
        UpdateOdometry(deltas.deltaA, deltas.deltaB, dt);

        if (reset_odom_flag == 1) {
                    Reset_Odometry();
                }

        latest_cntA = deltas.current_cntA;
        latest_cntB = deltas.current_cntB;

        if (!motors_armed || is_robot_flipped) {
            target_ticks_A = 0;
            target_ticks_B = 0;
            speed_pid_A.integral = 0.0f;
            speed_pid_A.prev_error = 0.0f;
            speed_pid_B.integral = 0.0f;
            speed_pid_B.prev_error = 0.0f;

            Move_MotorA(0);
            Move_MotorB(0);
            HAL_GPIO_WritePin(STBY_GPIO_Port, STBY_Pin, GPIO_PIN_RESET);
            continue;
        }

        HAL_GPIO_WritePin(STBY_GPIO_Port, STBY_Pin, GPIO_PIN_SET);

        if (xTaskNotifyWait(0x00, ULONG_MAX, &packed_value, 0) == pdTRUE) {
            target_ticks_A = (int16_t)(packed_value >> 16);
            target_ticks_B = (int16_t)(packed_value & 0xFFFF);
        }

        float actual_ticks_A = (float)deltas.deltaA / dt;
        float actual_ticks_B = (float)deltas.deltaB / dt;

        float error_A = (float)target_ticks_A - actual_ticks_A;
        float error_B = (float)target_ticks_B - actual_ticks_B;

        Move_MotorA((int16_t)Compute_PID(&speed_pid_A, error_A, dt));
        Move_MotorB((int16_t)Compute_PID(&speed_pid_B, error_B, dt));
    }
}

// --- GLOBAL SPEED CONTROL VARIABLE ---

//void vMotorController(void *parameters)
//{
//    static int32_t prev_cntA = 0;
//    static int32_t prev_cntB = 0;
//
//    // 1. Wait until startup gate opens
////    while (system_started == 1) {
////        vTaskDelay(pdMS_TO_TICKS(50));
////    }
//
//    // 2. Enable hardware
//    HAL_GPIO_WritePin(STBY_GPIO_Port, STBY_Pin, GPIO_PIN_SET);
//    HAL_TIM_PWM_Start(&htim3, TIM_CHANNEL_3);
//    HAL_TIM_PWM_Start(&htim3, TIM_CHANNEL_4);
//    HAL_TIM_Encoder_Start(&htim5, TIM_CHANNEL_ALL);
//    HAL_TIM_Encoder_Start(&htim2, TIM_CHANNEL_ALL);
//
//    const float dt = 0.010f; // 10ms loop
//    TickType_t xLastWakeTime = xTaskGetTickCount();
//    const TickType_t xFrequency = pdMS_TO_TICKS(10);
//
//    uint32_t print_counter = 0;
//
//    while (1)
//    {
//        vTaskDelayUntil(&xLastWakeTime, xFrequency);
//
//        // --- Convert your desired m/s speed to target encoder ticks per second ---
//        int16_t target_ticks = (int16_t)((user_target_speed_ms / (M_PI * WHEEL_DIAMETER_M)) * ENCODER_TICKS_PER_REV);
//
//        // Read raw encoder counters
//        latest_cntA = (int16_t)__HAL_TIM_GET_COUNTER(&htim5);
//        latest_cntB = (int16_t)__HAL_TIM_GET_COUNTER(&htim2);
//
//        // Calculate delta ticks
//        int16_t deltaA = (int16_t)prev_cntA - latest_cntA;
//        int16_t deltaB = (int16_t)prev_cntB - latest_cntB;
//        prev_cntA = latest_cntA;
//        prev_cntB = latest_cntB;
//
//        // Actual ticks per second
//        float actual_ticks_A = (float)deltaA / dt;
//        float actual_ticks_B = (float)deltaB / dt;
//
//        // --- Calculate Actual Measured Speeds (m/s) ---
//        float actual_speed_A_ms = (actual_ticks_A / ENCODER_TICKS_PER_REV) * (M_PI * WHEEL_DIAMETER_M);
//        float actual_speed_B_ms = (actual_ticks_B / ENCODER_TICKS_PER_REV) * (M_PI * WHEEL_DIAMETER_M);
//
//        // Compute PID error using your target ticks
//        float error_A = (float)target_ticks - actual_ticks_A;
//        float error_B = (float)target_ticks - actual_ticks_B;
//
//        float pwm_A = Compute_PID(&speed_pid_A, error_A, dt);
//        float pwm_B = Compute_PID(&speed_pid_B, error_B, dt);
//
//        // Drive motors
//        Move_MotorA((int16_t)pwm_A);
//        Move_MotorB((int16_t)pwm_B);
//
//        // Print target vs actual speed every 100ms
////        if (++print_counter >= 10) {
////            print_counter = 0;
////            printf(">TARGET: %.3f m/s >ACTUAL A: %.3f m/s >ACTUAL B: %.3f m/s >cntA: %lu > cnB: %lu\r\n",
////                   user_target_speed_ms, actual_speed_A_ms, actual_speed_B_ms, (unsigned long)latest_cntA, (unsigned long)latest_cntB);
//////        }
//    }
//}

void vLocalNavigationTask(void *parameters)
{
    tof_pack_t tof_data;
    imu_pack_t imu_data;

    bool last_has_left = false;
    while (system_started == 1) {
        vTaskDelay(pdMS_TO_TICKS(50));
    }

    TickType_t xLastWakeTime = xTaskGetTickCount();
    const TickType_t xFrequency = pdMS_TO_TICKS(40); // 50Hz

//    const float TARGET_WALL_DIST_MM = 100.0f;
//    const float TARGET_HEADING_RAD = 0.0f;
//    const float FRONT_OBSTACLE_THRESHOLD_MM = 100.0f; // Stop or slow down if wall is closer than 10cm ahead
    const float Y_ERR_TOLERANCE_MM = 5.0f;

    while (1)
    {
        vTaskDelayUntil(&xLastWakeTime, xFrequency);

        // Safe 50ms timeout to prevent locking up the loop
        if (xQueueReceive(xTofQueue, &tof_data, pdMS_TO_TICKS(50)) == pdPASS &&
            xQueueReceive(xImuQueue, &imu_data, pdMS_TO_TICKS(50)) == pdPASS)
        {
            float current_yaw_rad = imu_data.heading * (M_PI / 180.0f);
            float y_left_tof = tof_data.y_left;
            float y_right_tof = tof_data.y_right;
            float x_front_tof = tof_data.x_front; // <--- Your new center sensor data!

            // 1. Heading & Lateral Error Calculation
            float theta_err = TARGET_HEADING_RAD - current_yaw_rad;

            bool has_left = last_has_left
                ? (y_left_tof < WALL_THRESHOLD_MM + 20.0f)   // stay locked in
                : (y_left_tof < WALL_THRESHOLD_MM - 20.0f);  // harder to enter
            last_has_left = has_left;

            float y_err = 0.0f;
            y_err = y_right_tof - y_left_tof;

			if (y_err > Y_ERR_TOLERANCE_MM) {
				y_err -= Y_ERR_TOLERANCE_MM;
			} else if (y_err < -Y_ERR_TOLERANCE_MM) {
				y_err += Y_ERR_TOLERANCE_MM;
			} else {
				y_err = 0.0f;
			}

            // 2. Compute normal PID velocity and steering
            float v_cmd, omega_cmd;
            compute_wall_pid_velocity(y_err, 0.020f, &v_cmd, &omega_cmd);

            // 4. Inverse Kinematics & Motor Execution
            float ang_R, ang_L;
            CalcIK(v_cmd, omega_cmd, &ang_R, &ang_L);

            int16_t target_ticks_A = METERS_TO_TICKS(ang_R);
            int16_t target_ticks_B = METERS_TO_TICKS(ang_L);

            uint32_t packed_value = ((uint32_t)(uint16_t)target_ticks_A << 16) | (uint16_t)target_ticks_B;

            if (!joystick_mode) {
                            xTaskNotify(motor_task_handler, packed_value, eSetValueWithOverwrite);
                        }

            telemetry_pack_t tel;
            tel.pose.x = robot_pose.x;
            tel.pose.y = robot_pose.y;
			tel.pose.theta = robot_pose.theta;
            tel.tof = tof_data;
			tel.imu = imu_data;
			tel.y_err = y_err;
			tel.theta_err = theta_err;
			tel.v_cmd = v_cmd;
			tel.omega_cmd = omega_cmd;
			tel.encA = latest_cntA;
			tel.encB = latest_cntB;

			if (xTelemetryQueue != NULL) {
				xQueueOverwrite(xTelemetryQueue, &tel);
			}
        }
    }
}

static void xOrientationCheckTask(void *parameters)
{
    imu_pack_t imu_data;
    TickType_t last_wake = xTaskGetTickCount();
    const TickType_t period = pdMS_TO_TICKS(50);
    const uint8_t debounce_samples = 5;
    uint8_t upside_down_count = 0;
    uint8_t upright_count = 0;

    for (;;) {
        vTaskDelayUntil(&last_wake, period);
        if (xQueuePeek(xImuQueue, &imu_data, 0) != pdPASS) {
            continue;
        }

        if (imu_data.acc[2] < -7.0f) {
            upright_count = 0;
            if (upside_down_count < debounce_samples) {
                upside_down_count++;
            }
            if (upside_down_count >= debounce_samples && !is_robot_flipped) {
                is_robot_flipped = true;
                motors_armed = false;
                printf(">>> ROBOT Disarmed (Flip Confirmed). <<<\r\n");
                printf("Motor State: %d",m);
            }
        } else if (imu_data.acc[2] > 7.0f) {
            upside_down_count = 0;
            if (upright_count < debounce_samples) {
                upright_count++;
            }
            if (upright_count >= debounce_samples && is_robot_flipped) {
                /* Clear the sensed flip only; explicit M,1 is still required. */
                is_robot_flipped = false;
                printf(">>> Robot upright. Press emergency release to re-arm. <<<\r\n");
            }
        } else {
            upside_down_count = 0;
            upright_count = 0;
        }
    }
}

void Reset_Odometry(void) {
    robot_pose.x = 0.0f;
    robot_pose.y = 0.0f;
    robot_pose.theta = 0.0f;
    robot_pose.v = 0.0f;
    robot_pose.omega = 0.0f;

    // Change the variable back to 0 after resetting as requested
    reset_odom_flag = 0;
}

void CalcIK(float v, float ang_v, float *ang_R, float *ang_L){

	*ang_R = (v + (ang_v * CHASSIS_LENGTH / 2.0)) ;
	*ang_L = (v - (ang_v * CHASSIS_LENGTH / 2.0));
}

static void main_task(void *parameters){
    char local_rx_buffer[32];
    float p, i, d, val;
    int m, odo = 0;

    while(1) {
        if (xQueueReceive(xUartRxQueue, local_rx_buffer, portMAX_DELAY) == pdPASS) {

            // --- JOYSTICK MODE TOGGLE: "J,1" (ON) or "J,0" (OFF) ---
            if (sscanf(local_rx_buffer, "J,%d", &m) == 1) {
                if (m == 1) {
                    if (!joystick_mode) {
                        joystick_mode = true;
//                        if (local_navigation_task_handler != NULL) vTaskSuspend(local_navigation_task_handler);
                        if (joystick_task_handler == NULL) xTaskCreate(vJoystickTask, "JoystickTask", 512, NULL, 2, &joystick_task_handler);
                        else vTaskResume(joystick_task_handler);

                        uint32_t zero_pack = 0;
                        xTaskNotify(motor_task_handler, zero_pack, eSetValueWithOverwrite);
                        printf(">>> Joystick Mode ENABLED. Navigation Suspended. <<<\r\n");
                    } else {
                        printf(">>> Joystick Mode is ALREADY Enabled. <<<\r\n");
                    }
                }
                else if (m == 0) {
                    if (joystick_mode) {
                        joystick_mode = false;
                        if (joystick_task_handler != NULL) vTaskSuspend(joystick_task_handler);
//                        if (local_navigation_task_handler != NULL) vTaskResume(local_navigation_task_handler);
                        printf(">>> Joystick Mode DISABLED. Navigation Resumed. <<<\r\n");
                    } else {
                        printf(">>> Joystick Mode is ALREADY Disabled. <<<\r\n");
                    }
                }
            }
            // --- ROUTE JOYSTICK PACKETS IF MODE IS ACTIVE ---
            else if (joystick_mode && strncmp(local_rx_buffer, "S:", 2) == 0) {
                xQueueSend(xJoystickQueue, local_rx_buffer, 0);
            }
            // --- SYSTEM COMMANDS ---
            else if (strncmp(local_rx_buffer, "usb", 3) == 0) {
                use_usb_logging = true;
                printf("Switched to USB logging\r\n");
            }
            // --- MOTOR A PID TUNING ---
            else if (sscanf(local_rx_buffer, "pA,%f", &p) == 1) {
                speed_pid_A.Kp = p;
                printf("PID Motor_A P updated: %.3f\r\n", p);
            }
            else if (sscanf(local_rx_buffer, "iA,%f", &i) == 1) {
                speed_pid_A.Ki = i;
                printf("PID Motor_A I updated: %.3f\r\n", i);
            }
            else if (sscanf(local_rx_buffer, "dA,%f", &d) == 1) {
                speed_pid_A.Kd = d;
                printf("PID Motor_A D updated: %.3f\r\n", d);
            }
            // --- MOTOR B PID TUNING ---
            else if (sscanf(local_rx_buffer, "pB,%f", &p) == 1) {
                speed_pid_B.Kp = p;
                printf("PID Motor_B P updated: %.3f\r\n", p);
            }
            else if (sscanf(local_rx_buffer, "iB,%f", &i) == 1) {
                speed_pid_B.Ki = i;
                printf("PID Motor_B I updated: %.3f\r\n", i);
            }
            else if (sscanf(local_rx_buffer, "dB,%f", &d) == 1) {
                speed_pid_B.Kd = d;
                printf("PID Motor_B D updated: %.3f\r\n", d);
            }
            // --- BOTH MOTORS BULK PID ---
            else if (sscanf(local_rx_buffer, "P,%f,%f,%f", &p, &i, &d) == 3) {
                speed_pid_A.Kp = p; speed_pid_A.Ki = i; speed_pid_A.Kd = d;
                speed_pid_B.Kp = p; speed_pid_B.Ki = i; speed_pid_B.Kd = d;
                printf("PID Both Motors updated\r\n");
            }
            else if (sscanf(local_rx_buffer, "wp,%f", &p) == 1) {
                wall_pid.Kp = p;
                printf("Wall PID P Wall updated: %.3f\r\n", p);
            }
            else if (sscanf(local_rx_buffer, "wi,%f", &i) == 1) {
                wall_pid.Ki = i;
                printf("Wall PID I Wall updated: %.3f\r\n", i);
            }
            else if (sscanf(local_rx_buffer, "wd,%f", &d) == 1) {
               wall_pid.Kd = d;
               printf("Wall PID D Wall updated: %.3f\r\n", d);
            }
            // --- MOTOR STATE & SPEED ---
            else if (sscanf(local_rx_buffer, "M,%d", &m) == 1) {
                if (m == 1) {
                    if (is_robot_flipped) {
                        motors_armed = false;
                        printf("Cannot arm: robot is still detected as flipped.\r\n");
                    } else {
                        speed_pid_A.integral = 0.0f;
                        speed_pid_A.prev_error = 0.0f;
                        speed_pid_B.integral = 0.0f;
                        speed_pid_B.prev_error = 0.0f;
                        motors_armed = true;
                        printf("Motor State: 1 (armed)\r\n");
                    }
                } else if (m == 0) {
                    motors_armed = false;
                    printf("Motor State: 0 (disarmed)\r\n");
                }
            }
            else if (sscanf(local_rx_buffer, "s,%f", &val) == 1 || sscanf(local_rx_buffer, "v,%f", &val) == 1) {
                user_target_speed_ms = val;
                printf("Target Speed Set: %.3f m/s\r\n", user_target_speed_ms);
            }
            else if (sscanf(local_rx_buffer, "odr,%d", &odo) == 1) {
				if (odo == 1) {
					reset_odom_flag = 1;
					printf(">>> Odometry Reset Requested <<<\r\n");
				}
             }
            // --- FALLBACK ---
            else {
                printf("Invalid format. Use: J,0/1 | pA/iA/dA | pB/iB/dB | l | q | r | ky | kt | M | s/v | usb\r\n");
            }
        }
    }
}

void vTelemetryTask(void *parameters)
{
    telemetry_pack_t tel;

    while (1)
    {
        // Block until the navigation task sends new data (runs at ~50Hz)
        if (xQueueReceive(xTelemetryQueue, &tel, portMAX_DELAY) == pdPASS)
        {
            printf("%d,%d,%d,%.2f,%.2f,%.2f,%.2f,%.2f,%.2f,%.2f,%d,%d\r\n",
                   tel.tof.y_left,       // Accessing nested struct
                   tel.tof.x_front,      // Accessing nested struct
                   tel.tof.y_right,
				   tel.pose.x,
				   tel.pose.y,
				   tel.pose.theta,
                   tel.y_err,
                   tel.theta_err,
                   tel.v_cmd,
                   tel.omega_cmd,
                   (int)tel.encA,
                   (int)tel.encB);
        }
    }
}

void Move_MotorA(int16_t magn) {
    uint32_t pwm_value = 0;
    if (magn > 0) {
        HAL_GPIO_WritePin(AIN1_GPIO_Port, AIN1_Pin, GPIO_PIN_SET); //GPIO_PIN_RESET
        HAL_GPIO_WritePin(AIN2_GPIO_Port, AIN2_Pin, GPIO_PIN_RESET);
        pwm_value = (uint32_t)magn;
    } else if (magn < 0) {
        HAL_GPIO_WritePin(AIN1_GPIO_Port, AIN1_Pin, GPIO_PIN_RESET); //GPIO_PIN_SET
        HAL_GPIO_WritePin(AIN2_GPIO_Port, AIN2_Pin, GPIO_PIN_SET);
        pwm_value = (uint32_t)(-magn);
    } else {
        HAL_GPIO_WritePin(AIN1_GPIO_Port, AIN1_Pin, GPIO_PIN_RESET);
        HAL_GPIO_WritePin(AIN2_GPIO_Port, AIN2_Pin, GPIO_PIN_RESET);
        pwm_value = 0;
    }
    if (pwm_value > 4799) pwm_value = 4799;
    __HAL_TIM_SET_COMPARE(&htim3, TIM_CHANNEL_3, pwm_value);
}

void Move_MotorB(int16_t magn) {
    uint32_t pwm_value = 0;
    if (magn > 0) {
        HAL_GPIO_WritePin(BIN1_GPIO_Port, BIN1_Pin, GPIO_PIN_RESET);
        HAL_GPIO_WritePin(BIN2_GPIO_Port, BIN2_Pin, GPIO_PIN_SET);
        pwm_value = (uint32_t)magn;
    } else if (magn < 0) {
        HAL_GPIO_WritePin(BIN1_GPIO_Port, BIN1_Pin, GPIO_PIN_SET);
        HAL_GPIO_WritePin(BIN2_GPIO_Port, BIN2_Pin, GPIO_PIN_RESET);
        pwm_value = (uint32_t)(-magn);
    } else {
        HAL_GPIO_WritePin(BIN1_GPIO_Port, BIN1_Pin, GPIO_PIN_RESET);
        HAL_GPIO_WritePin(BIN2_GPIO_Port, BIN2_Pin, GPIO_PIN_RESET);
        pwm_value = 0;
    }
    if (pwm_value > 4799) pwm_value = 4799;
    __HAL_TIM_SET_COMPARE(&htim3, TIM_CHANNEL_4, pwm_value);
}

void HAL_UART_RxCpltCallback(UART_HandleTypeDef *huart) {
    if (huart->Instance == USART1) {
        // Check for end of line/command
        if (rx_data == '\n' || rx_data == '\r') {
            rx_buffer[rx_index] = '\0'; // Null-terminate the string

            if (rx_index > 0) {
                BaseType_t xHigherPriorityTaskWoken = pdFALSE;
                // Send the received string to the queue
                xQueueSendFromISR(xUartRxQueue, rx_buffer, &xHigherPriorityTaskWoken);
                rx_index = 0;
                portYIELD_FROM_ISR(xHigherPriorityTaskWoken); // Force context switch if needed
            }
        } else {
            // Append byte to buffer if there's space (avoid overflow)
            if (rx_index < 31) {
                rx_buffer[rx_index++] = rx_data;
            }
        }
        // Re-arm the interrupt for the next byte rapidly
        HAL_UART_Receive_IT(&huart1, &rx_data, 1);
    }
}

/* USER CODE END 4 */

void HAL_TIM_PeriodElapsedCallback(TIM_HandleTypeDef *htim)
{
  if (htim->Instance == TIM4)
  {
    HAL_IncTick();
  }
}

void Error_Handler(void)
{
  __disable_irq();
  while (1)
  {
  }
}
